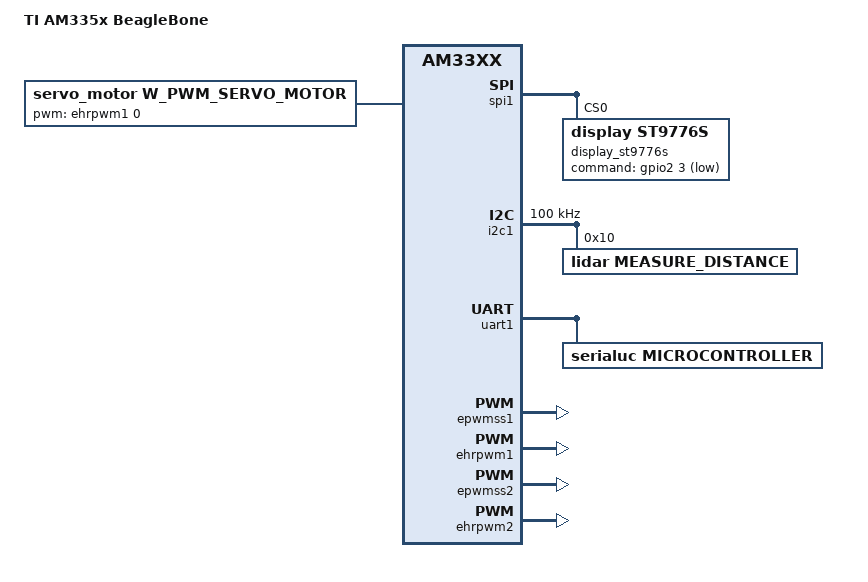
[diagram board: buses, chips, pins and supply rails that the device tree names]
/dts-v1/;
#include "am33xx.dtsi"
#include "am335x-bone-common.dtsi"
#include "am335x-boneblack-common.dtsi"
#include "am335x-boneblack-hdmi.dtsi"

#include <dt-bindings/interrupt-controller/irq.h>
#include <dt-bindings/gpio/gpio.h>

/ {
	model = "TI AM335x BeagleBone";
	compatible = "ti,am335x-bone", "ti,am33xx";
	
	pwm_servo {
		compatible	= "servo_motor,w_pwm_servo_motor";
		pwms 		= <&ehrpwm1 0 20000000 0>;
		pwm-names 	= "pwm_servo_motor";
		pinctrl-names	= "default";
		//pinctrl-0	= <&ehrpwm1_pins>;
		enabled		= <0>;
		duty		= <0>;
		status = "okay";				
	};
	
};

&am33xx_pinmux {

	pinctrl-name = "default";

	i2c1_pins: i2c1-pins {
		pinctrl-single,pins = <
			AM33XX_PADCONF(0x958, PIN_INPUT_PULLUP, MUX_MODE2)		/* spi0_d1.i2c2_sda */
			AM33XX_PADCONF(0x95c, PIN_INPUT_PULLUP, MUX_MODE2)		/* spi0_cs0.i2c2_scl */
		>;
	};
	
	uart1_pins: uart1-pins {
		pinctrl-single,pins = <
			AM33XX_PADCONF(AM335X_PIN_UART1_RXD, PIN_INPUT_PULLUP, MUX_MODE0)
			AM33XX_PADCONF(AM335X_PIN_UART1_TXD, PIN_OUTPUT_PULLDOWN, MUX_MODE0)
		>;
	};
	
    	ehrpwm1_pins: ehrpwm1_pins {
        	pinctrl-single,pins = <
            		AM33XX_IOPAD(0x848, PIN_OUTPUT | MUX_MODE6) /* P9.14, EHRPWM1A */
            		AM33XX_IOPAD(0x84c, PIN_OUTPUT | MUX_MODE6) /* P9.16, EHRPWM1B */
        	>;
    	};
    	
    	ehrpwm2_pins: ehrpwm2_pins {
        	pinctrl-single,pins = <
            		AM33XX_IOPAD(0x820, PIN_OUTPUT | MUX_MODE4) /* P8.19, EHRPWM2A */
            		AM33XX_IOPAD(0x824, PIN_OUTPUT | MUX_MODE4) /* P8.13, EHRPWM2B */
     		>;
     	};	
     	     	
     	spi1_pins: pinmux_spi1_pins {
		pinctrl-single,pins = <
			AM33XX_IOPAD(0x990,PIN_OUTPUT_PULLDOWN | MUX_MODE3) 	/* mcasp0_aclkx.spi1_sclk	P9-31	*/
			AM33XX_IOPAD(0x994,PIN_INPUT_PULLUP| MUX_MODE3) 	/* mcasp0_fsx.spi1_d0	 	P9_29	*/
			AM33XX_IOPAD(0x998,PIN_OUTPUT_PULLDOWN | MUX_MODE3) 	/* mcasp0_axr0.spi1_d1	 	P9_30	*/	
			//0x19c 0x13	/* mcasp0_ahclkr.spi1_cs0, OUTPUT_PULLUP | MODE3 			p9_28	*/
			AM33XX_IOPAD(0x894,PIN_OUTPUT_PULLDOWN | MUX_MODE7) 	/* gpmc_oen_ren.gpio2_3 	P8_8	*/
			//AM33XX_IOPAD(0x81C,PIN_OUTPUT_PULLDOWN | MUX_MODE7)	/* gpmc_ad4.gpio1_7 		P8_4	*/
		>;
	};
};

&spi1 {
	#address-cells = <1>;
	#size-cells = <0>;
	pinctrl-names = "default";
	pinctrl-0 = <&spi1_pins>;
	spi-max-frequency = <16000000>;	
	status = "okay";	
	display_st9776s: st9776s@0{
		compatible = "display,st9776s";	
		cs-gpios = <&gpio3 17 GPIO_ACTIVE_LOW>; /* Chip Select */			
		command-gpios = <&gpio2 3 GPIO_ACTIVE_LOW>; /* See gpio datasheet pinout mode 7 */				
		reg = <0>;
	};
};

&i2c1 {
	pinctrl-names = "default";
	pinctrl-0 = <&i2c1_pins>;

	status = "okay";
	clock-frequency = <100000>;
	
	lidar: lidar_measurement@10{
		compatible = "lidar,measure_distance";
		reg = <0x10>;
	};

};

&uart1 {
	pinctrl-names = "default";
	pinctrl-0 = <&uart1_pins>;
	status = "okay";
	
	serialuc: comm_uc{
		compatible = "serialuc,microcontroller";
	};
};

&epwmss1 {
	status = "okay";
};

&ehrpwm1 {
	status = "okay";
	pinctrl-names = "default";
	pinctrl-0 = <&ehrpwm1_pins>;
};

&epwmss2 {
	status = "okay";
};

&ehrpwm2 {
	status = "okay";
	pinctrl-names = "default";
	pinctrl-0 = <&ehrpwm2_pins>;
};





